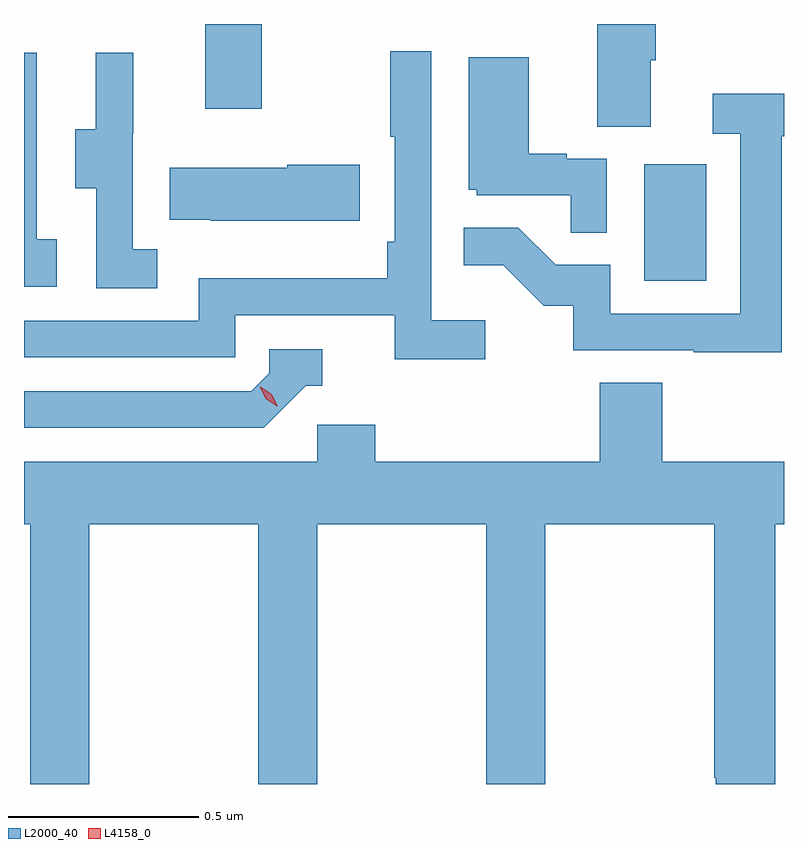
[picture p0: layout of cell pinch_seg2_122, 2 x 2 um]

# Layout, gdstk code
import gdstk
lib = gdstk.Library(unit=1e-6, precision=1e-09)
def R(c, l, rs):  # rectangles x0, y0, x1, y1
    for r in rs: c.add(gdstk.rectangle(r[:2], r[2:], *l))
def P(c, l, *ps):  # polygons
    for p in ps: c.add(gdstk.Polygon(p, *l))
L2000_40 = (2000, 40)
L4158_0 = (4158, 0)

pinch_seg2_122 = lib.new_cell('pinch_seg2_122')
R(pinch_seg2_122, L2000_40, [(1074.23,640.284,1074.394,640.591), (1073.075,640.737,1073.223,640.96)])
P(pinch_seg2_122, L2000_40, [(1074.247,640.864),(1074.26,640.864),(1074.26,640.96),(1074.107,640.96),(1074.107,640.69),(1074.247,640.69)],
  [(1073.812,640.18),(1073.67,640.18),(1073.67,640.888),(1073.562,640.888),(1073.562,640.663),(1073.574,640.663),(1073.574,640.387),(1073.554,640.387),(1073.554,640.291),(1073.058,640.291),(1073.058,640.179),(1072.598,640.179),(1072.598,640.083),(1073.154,640.083),(1073.154,640.194),(1073.573,640.194),(1073.573,640.078),(1073.812,640.078)],
  [(1072.684,640.394),(1072.632,640.394),(1072.632,640.885),(1072.598,640.885),(1072.598,640.269),(1072.684,640.269)],
  [(1072.948,640.367),(1072.884,640.367),(1072.884,640.671),(1072.886,640.671),(1072.886,640.885),(1072.787,640.885),(1072.787,640.683),(1072.733,640.683),(1072.733,640.528),(1072.788,640.528),(1072.788,640.264),(1072.948,640.264)],
  [(1074.132,640.605),(1074.026,640.605),(1074.026,640.618),(1073.926,640.618),(1073.926,640.873),(1073.768,640.873),(1073.768,640.524),(1073.79,640.524),(1073.79,640.509),(1074.037,640.509),(1074.037,640.411),(1074.132,640.411)],
  [(1074.592,640.664),(1074.598,640.664),(1074.598,640.777),(1074.411,640.777),(1074.411,640.671),(1074.483,640.671),(1074.483,640.197),(1074.141,640.197),(1074.141,640.326),(1073.997,640.326),(1073.899,640.424),(1073.755,640.424),(1073.755,640.325),(1073.859,640.325),(1073.966,640.218),(1074.043,640.218),(1074.043,640.101),(1074.361,640.101),(1074.361,640.096),(1074.592,640.096)],
  [(1073.482,640.59),(1073.291,640.59),(1073.291,640.582),(1072.981,640.582),(1072.981,640.445),(1073.089,640.445),(1073.089,640.442),(1073.482,640.442)],
  [(1073.34,640.008),(1073.383,640.008),(1073.383,640.104),(1073.244,640.104),(1073.244,640.041),(1073.196,639.993),(1072.598,639.993),(1072.598,639.897),(1073.229,639.897)],
  [(1072.77,639.644),(1073.215,639.644),(1073.215,638.96),(1073.37,638.96),(1073.37,639.644),(1073.815,639.644),(1073.815,638.96),(1073.97,638.96),(1073.97,639.644),(1074.415,639.644),(1074.415,638.977),(1074.419,638.977),(1074.419,638.96),(1074.575,638.96),(1074.575,639.644),(1074.598,639.644),(1074.598,639.808),(1074.278,639.808),(1074.278,640.016),(1074.113,640.016),(1074.113,639.808),(1073.522,639.808),(1073.522,639.906),(1073.37,639.906),(1073.37,639.808),(1072.598,639.808),(1072.598,639.644),(1072.615,639.644),(1072.615,638.96),(1072.77,638.96)])
P(pinch_seg2_122, L4158_0, [(1073.265,639.954),(1073.235,639.973),(1073.219,640.006),(1073.219,640.006),(1073.22,640.006),(1073.25,639.986),(1073.266,639.954),(1073.266,639.954)])

lib.write_gds('pinch_seg2_122.gds')
